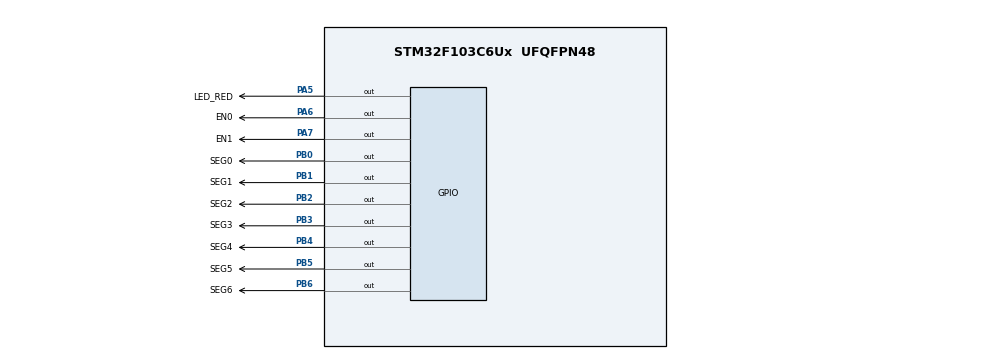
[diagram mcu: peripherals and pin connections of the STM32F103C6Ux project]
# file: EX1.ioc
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Mcu.Family=STM32F1
Mcu.Name=STM32F103C6Ux
Mcu.Package=UFQFPN48
NVIC.PriorityGroup=NVIC_PRIORITYGROUP_4
NVIC.TIM2_IRQn=true\:0\:0\:false\:false\:true\:true\:true
PA5.GPIO_Label=LED_RED
PA5.Signal=GPIO_Output
PA6.GPIO_Label=EN0
PA6.Signal=GPIO_Output
PA7.GPIO_Label=EN1
PA7.Signal=GPIO_Output
PB0.GPIO_Label=SEG0
PB0.Signal=GPIO_Output
PB1.GPIO_Label=SEG1
PB1.Signal=GPIO_Output
PB2.GPIO_Label=SEG2
PB2.Signal=GPIO_Output
PB3.GPIO_Label=SEG3
PB3.Signal=GPIO_Output
PB4.GPIO_Label=SEG4
PB4.Signal=GPIO_Output
PB5.GPIO_Label=SEG5
PB5.Signal=GPIO_Output
PB6.GPIO_Label=SEG6
PB6.Signal=GPIO_Output
ProjectManager.HeapSize=0x200
ProjectManager.StackSize=0x400
ProjectManager.TargetToolchain=STM32CubeIDE
RCC.APB1Freq_Value=8000000
RCC.APB2Freq_Value=8000000
TIM2.Period=9
TIM2.Prescaler=7999
VP_SYS_VS_ND.Mode=No_Debug
VP_TIM2_VS_ClockSourceINT.Mode=Internal
board=custom

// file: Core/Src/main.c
/* USER CODE BEGIN Header */
/**
  ******************************************************************************
  * @file           : main.c
  * @brief          : Main program body
  ******************************************************************************
  * @attention
  *
  * <h2><center>&copy; Copyright (c) 2024 STMicroelectronics.
  * All rights reserved.</center></h2>
  *
  * This software component is licensed by ST under BSD 3-Clause license,
  * the "License"; You may not use this file except in compliance with the
  * License. You may obtain a copy of the License at:
  *                        opensource.org/licenses/BSD-3-Clause
  *
  ******************************************************************************
  */
/* USER CODE END Header */
#include "main.h"
#include "software_timer.h"

TIM_HandleTypeDef htim2;

void display7SEG(int counter){
	switch(counter){
	case 1:

			  HAL_GPIO_WritePin(SEG0_GPIO_Port, SEG0_Pin, SET);
			  HAL_GPIO_WritePin(SEG1_GPIO_Port, SEG1_Pin, RESET);
			  HAL_GPIO_WritePin(SEG2_GPIO_Port, SEG2_Pin, RESET);
			  HAL_GPIO_WritePin(SEG3_GPIO_Port, SEG3_Pin, SET);
			  HAL_GPIO_WritePin(SEG4_GPIO_Port, SEG4_Pin, SET);
			  HAL_GPIO_WritePin(SEG5_GPIO_Port, SEG5_Pin, SET);
			  HAL_GPIO_WritePin(SEG6_GPIO_Port, SEG6_Pin, SET);

			  break;
	case 2:

		  HAL_GPIO_WritePin(SEG0_GPIO_Port, SEG0_Pin, RESET);
		  HAL_GPIO_WritePin(SEG1_GPIO_Port, SEG1_Pin, RESET);
		  HAL_GPIO_WritePin(SEG2_GPIO_Port, SEG2_Pin, SET);
		  HAL_GPIO_WritePin(SEG3_GPIO_Port, SEG3_Pin, RESET);
		  HAL_GPIO_WritePin(SEG4_GPIO_Port, SEG4_Pin, RESET);
		  HAL_GPIO_WritePin(SEG5_GPIO_Port, SEG5_Pin, SET);
		  HAL_GPIO_WritePin(SEG6_GPIO_Port, SEG6_Pin, RESET);

		  break;
	}
}
void SystemClock_Config(void);
static void MX_GPIO_Init(void);
static void MX_TIM2_Init(void);

int main(void)
{

  /* MCU Configuration--------------------------------------------------------*/

  /* Reset of all peripherals, Initializes the Flash interface and the Systick. */
  HAL_Init();

  /* Configure the system clock */
  SystemClock_Config();

  /* Initialize all configured peripherals */
  MX_GPIO_Init();
  MX_TIM2_Init();
  /* USER CODE BEGIN 2 */
  HAL_TIM_Base_Start_IT(&htim2);
  /* USER CODE END 2 */

  /* Infinite loop */
  /* USER CODE BEGIN WHILE */
  setTimer1(50);
  int counter = 0;
  while (1)
  {

	  	  if(timer1_flag==1){
			  if(counter==0)
			  {
			      HAL_GPIO_WritePin(EN0_GPIO_Port, EN0_Pin, RESET);
			      HAL_GPIO_WritePin(EN1_GPIO_Port, EN1_Pin, SET);

				  display7SEG(1);
				  counter=1;

			  }else if(counter==1){
			      HAL_GPIO_WritePin(EN0_GPIO_Port, EN0_Pin, SET);
			      HAL_GPIO_WritePin(EN1_GPIO_Port, EN1_Pin, RESET);
				  display7SEG(2);
				  counter=0;

			  }
			  setTimer1(50);
		  }
    /* USER CODE END WHILE */

  }
}

void SystemClock_Config(void)
{
  RCC_OscInitTypeDef RCC_OscInitStruct = {0};
  RCC_ClkInitTypeDef RCC_ClkInitStruct = {0};

  /** Initializes the RCC Oscillators according to the specified parameters
  * in the RCC_OscInitTypeDef structure.
  */
  RCC_OscInitStruct.OscillatorType = RCC_OSCILLATORTYPE_HSI;
  RCC_OscInitStruct.HSIState = RCC_HSI_ON;
  RCC_OscInitStruct.HSICalibrationValue = RCC_HSICALIBRATION_DEFAULT;
  RCC_OscInitStruct.PLL.PLLState = RCC_PLL_NONE;
  if (HAL_RCC_OscConfig(&RCC_OscInitStruct) != HAL_OK)
  {
    Error_Handler();
  }
  /** Initializes the CPU, AHB and APB buses clocks
  */
  RCC_ClkInitStruct.ClockType = RCC_CLOCKTYPE_HCLK|RCC_CLOCKTYPE_SYSCLK
                              |RCC_CLOCKTYPE_PCLK1|RCC_CLOCKTYPE_PCLK2;
  RCC_ClkInitStruct.SYSCLKSource = RCC_SYSCLKSOURCE_HSI;
  RCC_ClkInitStruct.AHBCLKDivider = RCC_SYSCLK_DIV1;
  RCC_ClkInitStruct.APB1CLKDivider = RCC_HCLK_DIV1;
  RCC_ClkInitStruct.APB2CLKDivider = RCC_HCLK_DIV1;

  if (HAL_RCC_ClockConfig(&RCC_ClkInitStruct, FLASH_LATENCY_0) != HAL_OK)
  {
    Error_Handler();
  }
}

static void MX_TIM2_Init(void)
{

  TIM_ClockConfigTypeDef sClockSourceConfig = {0};
  TIM_MasterConfigTypeDef sMasterConfig = {0};

  htim2.Instance = TIM2;
  htim2.Init.Prescaler = 7999;
  htim2.Init.CounterMode = TIM_COUNTERMODE_UP;
  htim2.Init.Period = 9;
  htim2.Init.ClockDivision = TIM_CLOCKDIVISION_DIV1;
  htim2.Init.AutoReloadPreload = TIM_AUTORELOAD_PRELOAD_DISABLE;
  if (HAL_TIM_Base_Init(&htim2) != HAL_OK)
  {
    Error_Handler();
  }
  sClockSourceConfig.ClockSource = TIM_CLOCKSOURCE_INTERNAL;
  if (HAL_TIM_ConfigClockSource(&htim2, &sClockSourceConfig) != HAL_OK)
  {
    Error_Handler();
  }
  sMasterConfig.MasterOutputTrigger = TIM_TRGO_RESET;
  sMasterConfig.MasterSlaveMode = TIM_MASTERSLAVEMODE_DISABLE;
  if (HAL_TIMEx_MasterConfigSynchronization(&htim2, &sMasterConfig) != HAL_OK)
  {
    Error_Handler();
  }

}

static void MX_GPIO_Init(void)
{
  GPIO_InitTypeDef GPIO_InitStruct = {0};

  /* GPIO Ports Clock Enable */
  __HAL_RCC_GPIOA_CLK_ENABLE();
  __HAL_RCC_GPIOB_CLK_ENABLE();

  /*Configure GPIO pin Output Level */
  HAL_GPIO_WritePin(GPIOA, LED_RED_Pin|EN0_Pin|EN1_Pin, GPIO_PIN_RESET);

  /*Configure GPIO pin Output Level */
  HAL_GPIO_WritePin(GPIOB, SEG0_Pin|SEG1_Pin|SEG2_Pin|SEG3_Pin
                          |SEG4_Pin|SEG5_Pin|SEG6_Pin, GPIO_PIN_RESET);

  /*Configure GPIO pins : LED_RED_Pin EN0_Pin EN1_Pin */
  GPIO_InitStruct.Pin = LED_RED_Pin|EN0_Pin|EN1_Pin;
  GPIO_InitStruct.Mode = GPIO_MODE_OUTPUT_PP;
  GPIO_InitStruct.Pull = GPIO_NOPULL;
  GPIO_InitStruct.Speed = GPIO_SPEED_FREQ_LOW;
  HAL_GPIO_Init(GPIOA, &GPIO_InitStruct);

  /*Configure GPIO pins : SEG0_Pin SEG1_Pin SEG2_Pin SEG3_Pin
                           SEG4_Pin SEG5_Pin SEG6_Pin */
  GPIO_InitStruct.Pin = SEG0_Pin|SEG1_Pin|SEG2_Pin|SEG3_Pin
                          |SEG4_Pin|SEG5_Pin|SEG6_Pin;
  GPIO_InitStruct.Mode = GPIO_MODE_OUTPUT_PP;
  GPIO_InitStruct.Pull = GPIO_NOPULL;
  GPIO_InitStruct.Speed = GPIO_SPEED_FREQ_LOW;
  HAL_GPIO_Init(GPIOB, &GPIO_InitStruct);

}

/* USER CODE BEGIN 4 */
void HAL_TIM_PeriodElapsedCallback(TIM_HandleTypeDef *htim){
	runTime();

}
/* USER CODE END 4 */

void Error_Handler(void)
{
  __disable_irq();
  while (1)
  {
  }
}

/************************ (C) COPYRIGHT STMicroelectronics *****END OF FILE****/
